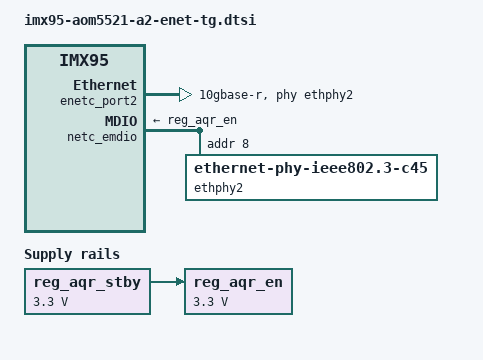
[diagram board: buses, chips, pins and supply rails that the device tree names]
/ {
	aliases {
		ethernet2 = &enetc_port2;
	};

	reg_aqr_stby: regulator-aqr-stby {
		compatible = "regulator-fixed";
		regulator-name = "aqr-stby";
		regulator-min-microvolt = <3300000>;
		regulator-max-microvolt = <3300000>;
		enable-active-high;
		regulator-always-on;
	};

	reg_aqr_en: regulator-aqr-en {
		compatible = "regulator-fixed";
		regulator-name = "aqr-en";
		regulator-min-microvolt = <3300000>;
		regulator-max-microvolt = <3300000>;
		vin-supply = <&reg_aqr_stby>;
		enable-active-high;
	};
};

&enetc_port2 {
	phy-handle = <&ethphy2>;
	phy-mode = "10gbase-r";
	managed = "in-band-status";
	status = "okay";
};

&netc_emdio {
	phy-supply = <&reg_aqr_en>;

	ethphy2: ethernet-phy@8 {
		compatible = "ethernet-phy-ieee802.3-c45";
		reg = <8>;
	};
};
